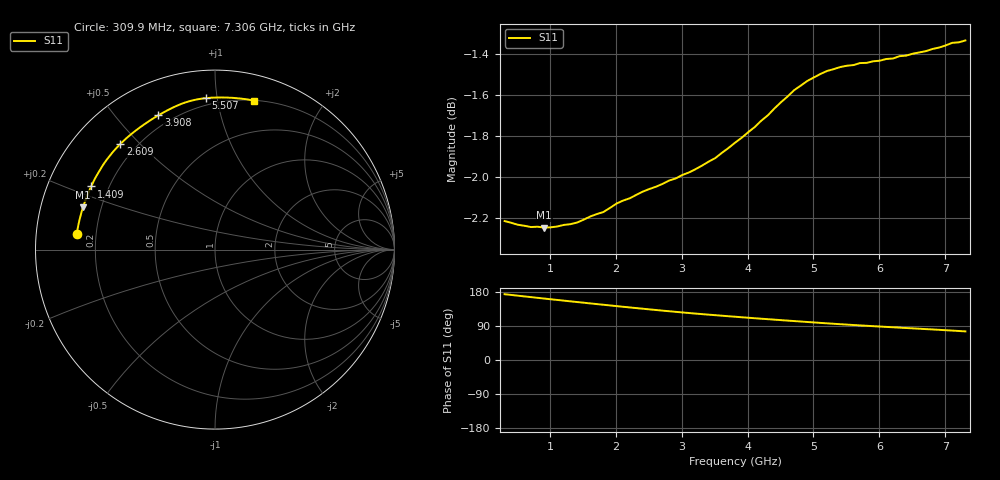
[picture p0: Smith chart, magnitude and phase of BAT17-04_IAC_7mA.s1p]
! Infineon Technologies  Discrete & RF Semiconductors
! BAT17-04
! IAC = 7 mA
! One-Port S-Parameters
# Hz  S  MA  R  50
!f  S11
!Hz  Mag  Ang
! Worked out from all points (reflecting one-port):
!   71 points, 309.9 MHz to 7.306 GHz, reference 50 ohm
!   lowest |S11| = -2.2 dB at 909.5 MHz (marker M1), VSWR 7.78, Z = 6.58 + j7.71 ohm
!   phase of S11 starts at 174 deg and turns -98 deg over the sweep
!   S11 on the Smith chart (normalised r, x): 309.9 MHz: 0.13, +0.05; 1.409 GHz: 0.13, +0.24; 2.609 GHz: 0.14, +0.44; 3.908 GHz: 0.15, +0.65; 5.507 GHz: 0.16, +0.93; 7.306 GHz: 0.20, +1.27
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3.0985e8  0.775 173.6
6.097e8  0.773 167.8
9.0955e8  0.7722 162.2
1.2094e9  0.7733 156.6
1.4093e9  0.7743 153.0
1.70915e9  0.778 147.6
1.90905e9  0.7807 144.0
2.10895e9  0.7839 140.5
2.4088e9  0.7879 135.3
2.50875e9  0.789 133.6
2.6087e9  0.79 131.9
2.70865e9  0.7913 130.2
3.0085e9  0.7952 125.5
3.30835e9  0.7994 121.1
3.6082e9  0.8051 116.8
3.8081e9  0.8097 114.2
3.90805e9  0.8119 112.8
4.2079e9  0.8198 108.9
4.70765e9  0.8339 102.7
4.90755e9  0.8382 100.3
5.10745e9  0.8415 97.9
5.50725e9  0.8454 93.4
5.6072e9  0.8457 92.3
6.10695e9  0.8486 87.3
6.50675e9  0.8511 83.5
6.8066e9  0.8533 80.6
7.10645e9  0.8563 77.6
7.30635e9  0.8574 75.5
